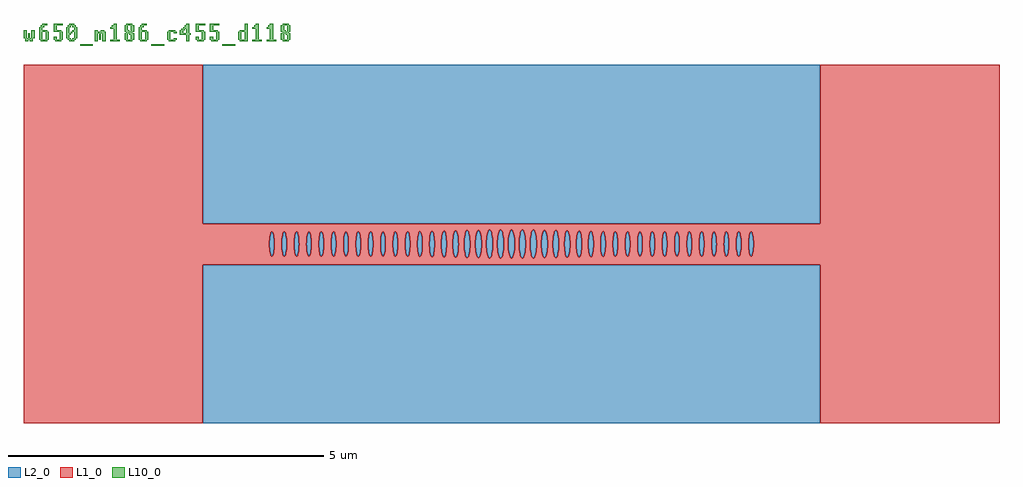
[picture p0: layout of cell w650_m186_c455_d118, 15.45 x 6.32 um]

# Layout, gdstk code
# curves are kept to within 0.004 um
import gdstk
lib = gdstk.Library(unit=1e-6, precision=1e-09)
def R(c, l, rs):  # rectangles x0, y0, x1, y1
    for r in rs: c.add(gdstk.rectangle(r[:2], r[2:], *l))
def A(c, l, x, y, w, h, nx, ny, dx, dy):  # array of equal rectangles
    R(c, l, [(x+i*dx, y+j*dy, x+i*dx+w, y+j*dy+h) for i in range(nx) for j in range(ny)])
def P(c, l, *ps):  # polygons
    for p in ps: c.add(gdstk.Polygon(p, *l))
L1_0 = (1, 0)
L2_0 = (2, 0)
L10_0 = (10, 0)

w650_m186_c455_d118 = lib.new_cell('w650_m186_c455_d118')
P(w650_m186_c455_d118, L1_0, [(-2.852,0.075),(-2.852,0.325),(-4.89,0.325),(-4.89,2.835),(-7.725,2.835),(-7.725,0),(-3.832,0),(-3.82,0.138),(-3.808,0.18),(-3.793,0.195),(-3.778,0.18),(-3.765,0.138),(-3.754,0.038),(-3.754,-0.038),(-3.636,-0.038),(-3.636,0.038),(-3.625,0.138),(-3.612,0.18),(-3.597,0.195),(-3.582,0.18),(-3.57,0.138),(-3.558,0),(-3.441,0),(-3.43,0.138),(-3.417,0.18),(-3.402,0.195),(-3.387,0.18),(-3.374,0.138),(-3.363,0),(-3.246,0),(-3.234,0.138),(-3.221,0.18),(-3.207,0.195),(-3.192,0.18),(-3.179,0.138),(-3.167,0),(-3.05,0),(-3.039,0.138),(-3.019,0.191),(-3.003,0.191),(-2.983,0.138),(-2.972,0),(-2.983,-0.138),(-2.996,-0.18),(-3.011,-0.195),(-3.026,-0.18),(-3.039,-0.138),(-3.05,0),(-3.167,0),(-3.179,-0.138),(-3.192,-0.18),(-3.207,-0.195),(-3.221,-0.18),(-3.234,-0.138),(-3.246,0),(-3.363,0),(-3.374,-0.138),(-3.387,-0.18),(-3.402,-0.195),(-3.417,-0.18),(-3.43,-0.138),(-3.441,0),(-3.558,0),(-3.57,-0.138),(-3.582,-0.18),(-3.597,-0.195),(-3.612,-0.18),(-3.625,-0.138),(-3.636,-0.038),(-3.754,-0.038),(-3.771,-0.162),(-3.785,-0.191),(-3.8,-0.191),(-3.82,-0.138),(-3.832,0),(-7.725,0),(-7.725,-2.835),(-4.89,-2.835),(-4.89,-0.325),(-2.852,-0.325)],
  [(-1.875,0.075),(-1.866,0.138),(-1.846,0.191),(-1.846,0.325),(-2.852,0.325),(-2.852,0.075),(-2.831,0.18),(-2.816,0.195),(-2.808,0.191),(-2.794,0.162),(-2.783,0.108),(-2.777,-0.038),(-2.659,-0.038),(-2.659,0.038),(-2.648,0.138),(-2.635,0.18),(-2.62,0.195),(-2.605,0.18),(-2.593,0.138),(-2.581,0),(-2.464,0),(-2.453,0.138),(-2.44,0.18),(-2.425,0.195),(-2.41,0.18),(-2.397,0.138),(-2.386,0),(-2.269,0),(-2.257,0.138),(-2.244,0.18),(-2.23,0.195),(-2.215,0.18),(-2.202,0.138),(-2.19,0),(-2.073,0),(-2.062,0.138),(-2.042,0.191),(-2.026,0.191),(-2.006,0.138),(-1.995,0),(-2.006,-0.138),(-2.019,-0.18),(-2.034,-0.195),(-2.049,-0.18),(-2.062,-0.138),(-2.073,0),(-2.19,0),(-2.202,-0.138),(-2.215,-0.18),(-2.23,-0.195),(-2.244,-0.18),(-2.257,-0.138),(-2.269,0),(-2.386,0),(-2.397,-0.138),(-2.41,-0.18),(-2.425,-0.195),(-2.44,-0.18),(-2.453,-0.138),(-2.464,0),(-2.581,0),(-2.593,-0.138),(-2.605,-0.18),(-2.62,-0.195),(-2.635,-0.18),(-2.648,-0.138),(-2.659,-0.038),(-2.777,-0.038),(-2.788,-0.138),(-2.801,-0.18),(-2.816,-0.195),(-2.831,-0.18),(-2.837,-0.162),(-2.852,-0.075),(-2.852,-0.325),(-1.846,-0.325),(-1.846,-0.191),(-1.86,-0.162),(-1.875,-0.075)],
  [(-1.831,0.191),(-1.817,0.162),(-1.806,0.108),(-1.8,0),(-1.683,0),(-1.672,0.139),(-1.659,0.181),(-1.644,0.196),(-1.629,0.181),(-1.616,0.139),(-1.604,0),(-1.49,0),(-1.478,0.141),(-1.465,0.184),(-1.45,0.199),(-1.434,0.184),(-1.421,0.141),(-1.412,0.076),(-1.409,-0.019),(-1.3,-0.019),(-1.291,0.126),(-1.272,0.192),(-1.256,0.203),(-1.241,0.185),(-1.228,0.14),(-1.219,0.076),(-1.217,-0.02),(-1.113,-0.02),(-1.108,0.095),(-1.098,0.157),(-1.083,0.197),(-1.067,0.208),(-1.051,0.189),(-1.038,0.144),(-1.026,0.039),(-1.026,-0.039),(-1.044,-0.17),(-1.067,-0.208),(-1.083,-0.197),(-1.098,-0.157),(-1.113,-0.02),(-1.217,-0.02),(-1.228,-0.14),(-1.241,-0.185),(-1.256,-0.203),(-1.272,-0.192),(-1.285,-0.154),(-1.3,-0.019),(-1.409,-0.019),(-1.421,-0.141),(-1.434,-0.184),(-1.45,-0.199),(-1.465,-0.184),(-1.478,-0.141),(-1.49,0),(-1.604,0),(-1.616,-0.139),(-1.629,-0.181),(-1.644,-0.196),(-1.659,-0.181),(-1.672,-0.139),(-1.683,0),(-1.8,0),(-1.811,-0.138),(-1.831,-0.191),(-1.846,-0.191),(-1.846,-0.325),(-0.881,-0.325),(-0.881,-0.213),(-0.898,-0.202),(-0.913,-0.161),(-0.929,-0.02),(-0.919,0.132),(-0.906,0.185),(-0.89,0.211),(-0.881,0.213),(-0.881,0.325),(-1.846,0.325),(-1.846,0.191)],
  [(-0.048,0.082),(-0.031,0.181),(-0.023,0.204),(-0.005,0.226),(-0.005,0.325),(-0.881,0.325),(-0.881,0.213),(-0.865,0.194),(-0.851,0.147),(-0.838,0),(-0.749,0),(-0.736,0.147),(-0.723,0.195),(-0.706,0.217),(-0.689,0.209),(-0.673,0.174),(-0.657,0.079),(-0.654,0),(-0.572,0),(-0.559,0.149),(-0.544,0.198),(-0.527,0.221),(-0.509,0.213),(-0.486,0.149),(-0.474,0),(-0.397,0),(-0.384,0.151),(-0.369,0.201),(-0.351,0.224),(-0.342,0.224),(-0.324,0.201),(-0.309,0.151),(-0.296,0),(-0.224,0),(-0.211,0.153),(-0.196,0.203),(-0.177,0.226),(-0.168,0.226),(-0.15,0.203),(-0.135,0.153),(-0.121,0),(-0.135,-0.153),(-0.15,-0.203),(-0.168,-0.226),(-0.187,-0.218),(-0.196,-0.203),(-0.211,-0.153),(-0.224,0),(-0.296,0),(-0.309,-0.151),(-0.324,-0.201),(-0.342,-0.224),(-0.351,-0.224),(-0.369,-0.201),(-0.384,-0.151),(-0.397,0),(-0.474,0),(-0.486,-0.149),(-0.501,-0.198),(-0.518,-0.221),(-0.536,-0.213),(-0.559,-0.149),(-0.572,0),(-0.654,0),(-0.667,-0.147),(-0.68,-0.195),(-0.697,-0.217),(-0.714,-0.209),(-0.73,-0.174),(-0.746,-0.079),(-0.749,0),(-0.838,0),(-0.851,-0.147),(-0.865,-0.194),(-0.881,-0.213),(-0.881,-0.325),(-0.005,-0.325),(-0.005,-0.226),(-0.023,-0.204),(-0.044,-0.12),(-0.052,0)],
  [(0.048,-0.082),(0.038,-0.153),(0.023,-0.204),(0.014,-0.219),(-0.005,-0.226),(-0.005,-0.325),(0.869,-0.325),(0.869,-0.202),(0.848,-0.132),(0.838,-0.02),(0.843,0.098),(0.854,0.161),(0.869,0.202),(0.869,0.325),(-0.005,0.325),(-0.005,0.226),(0.014,0.219),(0.031,0.181),(0.044,0.12),(0.052,0),(0.121,0),(0.135,0.153),(0.15,0.203),(0.168,0.226),(0.187,0.218),(0.196,0.203),(0.211,0.153),(0.224,0),(0.296,0),(0.309,0.151),(0.324,0.201),(0.342,0.224),(0.351,0.224),(0.369,0.201),(0.384,0.151),(0.394,0.081),(0.396,-0.041),(0.474,-0.041),(0.474,0.041),(0.486,0.149),(0.501,0.198),(0.518,0.221),(0.536,0.213),(0.559,0.149),(0.572,0),(0.654,0),(0.657,0.079),(0.673,0.174),(0.689,0.209),(0.706,0.217),(0.723,0.195),(0.736,0.147),(0.749,0),(0.736,-0.147),(0.723,-0.195),(0.706,-0.217),(0.689,-0.209),(0.673,-0.174),(0.657,-0.079),(0.654,0),(0.572,0),(0.559,-0.149),(0.544,-0.198),(0.527,-0.221),(0.509,-0.213),(0.493,-0.177),(0.474,-0.041),(0.396,-0.041),(0.384,-0.151),(0.369,-0.201),(0.351,-0.224),(0.342,-0.224),(0.324,-0.201),(0.309,-0.151),(0.296,0),(0.224,0),(0.211,-0.153),(0.196,-0.203),(0.177,-0.226),(0.168,-0.226),(0.15,-0.203),(0.135,-0.153),(0.121,0),(0.052,0)],
  [(0.886,0.213),(0.91,0.174),(0.922,0.115),(0.929,-0.02),(1.026,-0.02),(1.035,0.129),(1.047,0.18),(1.063,0.206),(1.071,0.208),(1.087,0.189),(1.101,0.144),(1.11,0.077),(1.113,-0.019),(1.216,-0.019),(1.225,0.126),(1.244,0.192),(1.26,0.203),(1.275,0.185),(1.288,0.14),(1.3,0),(1.409,0),(1.421,0.141),(1.434,0.184),(1.45,0.199),(1.465,0.184),(1.478,0.141),(1.49,0),(1.604,0),(1.616,0.139),(1.629,0.181),(1.644,0.196),(1.659,0.181),(1.672,0.139),(1.68,0.075),(1.682,-0.038),(1.672,-0.139),(1.659,-0.181),(1.644,-0.196),(1.629,-0.181),(1.616,-0.139),(1.604,0),(1.49,0),(1.478,-0.141),(1.465,-0.184),(1.45,-0.199),(1.434,-0.184),(1.421,-0.141),(1.409,0),(1.3,0),(1.288,-0.14),(1.275,-0.185),(1.26,-0.203),(1.244,-0.192),(1.231,-0.154),(1.216,-0.019),(1.113,-0.019),(1.101,-0.144),(1.087,-0.189),(1.071,-0.208),(1.055,-0.197),(1.041,-0.157),(1.03,-0.095),(1.026,-0.02),(0.929,-0.02),(0.922,-0.115),(0.91,-0.174),(0.886,-0.213),(0.869,-0.202),(0.869,-0.325),(1.846,-0.325),(1.846,-0.191),(1.831,-0.191),(1.817,-0.162),(1.8,-0.038),(1.8,0.038),(1.811,0.138),(1.831,0.191),(1.846,0.191),(1.846,0.325),(0.869,0.325),(0.869,0.202)],
  [(1.875,-0.075),(1.866,-0.138),(1.846,-0.191),(1.846,-0.325),(2.848,-0.325),(2.848,-0.108),(2.831,-0.18),(2.816,-0.195),(2.808,-0.191),(2.788,-0.138),(2.777,-0.038),(2.783,0.108),(2.801,0.18),(2.816,0.195),(2.831,0.18),(2.848,0.108),(2.848,0.325),(1.846,0.325),(1.846,0.191),(1.866,0.138),(1.878,0),(1.995,0),(2.006,0.138),(2.019,0.18),(2.034,0.195),(2.049,0.18),(2.062,0.138),(2.073,0),(2.19,0),(2.202,0.138),(2.215,0.18),(2.23,0.195),(2.244,0.18),(2.257,0.138),(2.269,0),(2.386,0),(2.397,0.138),(2.41,0.18),(2.425,0.195),(2.44,0.18),(2.453,0.138),(2.464,0),(2.581,0),(2.593,0.138),(2.605,0.18),(2.62,0.195),(2.628,0.191),(2.642,0.162),(2.653,0.108),(2.659,-0.038),(2.648,-0.138),(2.635,-0.18),(2.62,-0.195),(2.605,-0.18),(2.593,-0.138),(2.581,0),(2.464,0),(2.453,-0.138),(2.44,-0.18),(2.425,-0.195),(2.41,-0.18),(2.397,-0.138),(2.386,0),(2.269,0),(2.257,-0.138),(2.244,-0.18),(2.23,-0.195),(2.215,-0.18),(2.202,-0.138),(2.19,0),(2.073,0),(2.062,-0.138),(2.049,-0.18),(2.034,-0.195),(2.019,-0.18),(2.006,-0.138),(1.995,0),(1.878,0)],
  [(2.852,-0.075),(2.848,-0.325),(4.89,-0.325),(4.89,-2.835),(7.725,-2.835),(7.725,2.835),(4.89,2.835),(4.89,0.325),(2.848,0.325),(2.848,0.108),(2.855,0),(2.972,0),(2.983,0.138),(2.996,0.18),(3.011,0.195),(3.026,0.18),(3.039,0.138),(3.05,0),(3.167,0),(3.179,0.138),(3.192,0.18),(3.207,0.195),(3.221,0.18),(3.234,0.138),(3.246,0),(3.363,0),(3.374,0.138),(3.387,0.18),(3.402,0.195),(3.417,0.18),(3.43,0.138),(3.441,0),(3.558,0),(3.57,0.138),(3.582,0.18),(3.597,0.195),(3.612,0.18),(3.625,0.138),(3.636,0.038),(3.636,-0.038),(3.754,-0.038),(3.754,0.038),(3.765,0.138),(3.778,0.18),(3.793,0.195),(3.808,0.18),(3.82,0.138),(3.832,0),(3.82,-0.138),(3.808,-0.18),(3.793,-0.195),(3.778,-0.18),(3.765,-0.138),(3.754,-0.038),(3.636,-0.038),(3.619,-0.162),(3.605,-0.191),(3.59,-0.191),(3.57,-0.138),(3.558,0),(3.441,0),(3.43,-0.138),(3.417,-0.18),(3.402,-0.195),(3.387,-0.18),(3.374,-0.138),(3.363,0),(3.246,0),(3.234,-0.138),(3.221,-0.18),(3.207,-0.195),(3.192,-0.18),(3.179,-0.138),(3.167,0),(3.05,0),(3.039,-0.138),(3.026,-0.18),(3.011,-0.195),(2.996,-0.18),(2.983,-0.138),(2.972,0),(2.855,0)])
R(w650_m186_c455_d118, L2_0, [(-4.89,-2.835,4.89,-0.325), (-4.89,0.325,4.89,2.835)])
P(w650_m186_c455_d118, L2_0, [(1.998,-0.075),(2.012,-0.162),(2.026,-0.191),(2.034,-0.195),(2.042,-0.191),(2.056,-0.162),(2.067,-0.108),(2.073,0),(2.067,0.108),(2.056,0.162),(2.042,0.191),(2.034,0.195),(2.019,0.18),(2.006,0.138),(1.996,0.038)],
  [(-1.487,-0.076),(-1.472,-0.166),(-1.458,-0.195),(-1.45,-0.199),(-1.434,-0.184),(-1.427,-0.166),(-1.416,-0.111),(-1.409,-0.019),(-1.412,0.076),(-1.427,0.166),(-1.434,0.184),(-1.45,0.199),(-1.458,0.195),(-1.472,0.166),(-1.483,0.111),(-1.49,0)],
  [(3.561,-0.075),(3.576,-0.162),(3.582,-0.18),(3.597,-0.195),(3.605,-0.191),(3.619,-0.162),(3.63,-0.108),(3.636,-0.038),(3.63,0.108),(3.619,0.162),(3.605,0.191),(3.597,0.195),(3.582,0.18),(3.565,0.108),(3.558,0)],
  [(3.438,0.075),(3.424,0.162),(3.41,0.191),(3.402,0.195),(3.394,0.191),(3.38,0.162),(3.369,0.108),(3.363,0),(3.369,-0.108),(3.38,-0.162),(3.394,-0.191),(3.402,-0.195),(3.417,-0.18),(3.43,-0.138),(3.44,-0.038)],
  [(3.243,0.075),(3.228,0.162),(3.207,0.195),(3.199,0.191),(3.185,0.162),(3.174,0.108),(3.167,0),(3.17,-0.075),(3.185,-0.162),(3.199,-0.191),(3.207,-0.195),(3.228,-0.162),(3.239,-0.108),(3.246,0)],
  [(3.047,0.075),(3.039,0.138),(3.019,0.191),(3.003,0.191),(2.983,0.138),(2.973,0.038),(2.975,-0.075),(2.989,-0.162),(3.003,-0.191),(3.011,-0.195),(3.019,-0.191),(3.033,-0.162),(3.044,-0.108),(3.05,0)],
  [(-3.438,-0.075),(-3.424,-0.162),(-3.41,-0.191),(-3.402,-0.195),(-3.394,-0.191),(-3.38,-0.162),(-3.369,-0.108),(-3.363,0),(-3.369,0.108),(-3.38,0.162),(-3.394,0.191),(-3.402,0.195),(-3.417,0.18),(-3.43,0.138),(-3.44,0.038)],
  [(2.584,-0.075),(2.599,-0.162),(2.605,-0.18),(2.62,-0.195),(2.628,-0.191),(2.642,-0.162),(2.653,-0.108),(2.659,-0.038),(2.653,0.108),(2.642,0.162),(2.628,0.191),(2.62,0.195),(2.605,0.18),(2.588,0.108),(2.581,0)],
  [(2.461,0.075),(2.447,0.162),(2.433,0.191),(2.425,0.195),(2.417,0.191),(2.403,0.162),(2.392,0.108),(2.386,0),(2.392,-0.108),(2.403,-0.162),(2.417,-0.191),(2.425,-0.195),(2.44,-0.18),(2.453,-0.138),(2.463,-0.038)],
  [(2.266,0.075),(2.251,0.162),(2.23,0.195),(2.222,0.191),(2.208,0.162),(2.197,0.108),(2.19,0),(2.193,-0.075),(2.208,-0.162),(2.222,-0.191),(2.23,-0.195),(2.251,-0.162),(2.262,-0.108),(2.269,0)],
  [(-3.243,-0.075),(-3.228,-0.162),(-3.207,-0.195),(-3.199,-0.191),(-3.185,-0.162),(-3.174,-0.108),(-3.167,0),(-3.17,0.075),(-3.185,0.162),(-3.199,0.191),(-3.207,0.195),(-3.228,0.162),(-3.239,0.108),(-3.246,0)],
  [(-3.047,-0.075),(-3.039,-0.138),(-3.019,-0.191),(-3.003,-0.191),(-2.983,-0.138),(-2.973,-0.038),(-2.975,0.075),(-2.989,0.162),(-3.003,0.191),(-3.011,0.195),(-3.019,0.191),(-3.033,0.162),(-3.044,0.108),(-3.05,0)],
  [(1.607,-0.075),(1.616,-0.139),(1.636,-0.192),(1.644,-0.196),(1.659,-0.181),(1.672,-0.139),(1.682,-0.038),(1.68,0.075),(1.666,0.163),(1.659,0.181),(1.644,0.196),(1.636,0.192),(1.622,0.163),(1.611,0.109),(1.604,0)],
  [(1.487,0.076),(1.472,0.166),(1.458,0.195),(1.45,0.199),(1.434,0.184),(1.427,0.166),(1.416,0.111),(1.409,0),(1.412,-0.076),(1.427,-0.166),(1.434,-0.184),(1.45,-0.199),(1.458,-0.195),(1.472,-0.166),(1.483,-0.111),(1.49,0)],
  [(-2.852,-0.075),(-2.837,-0.162),(-2.831,-0.18),(-2.816,-0.195),(-2.808,-0.191),(-2.794,-0.162),(-2.783,-0.108),(-2.777,-0.038),(-2.783,0.108),(-2.794,0.162),(-2.808,0.191),(-2.816,0.195),(-2.831,0.18),(-2.848,0.108),(-2.855,0)],
  [(-2.461,-0.075),(-2.447,-0.162),(-2.433,-0.191),(-2.425,-0.195),(-2.417,-0.191),(-2.403,-0.162),(-2.392,-0.108),(-2.386,0),(-2.392,0.108),(-2.403,0.162),(-2.417,0.191),(-2.425,0.195),(-2.44,0.18),(-2.453,0.138),(-2.463,0.038)],
  [(-2.266,-0.075),(-2.251,-0.162),(-2.23,-0.195),(-2.222,-0.191),(-2.208,-0.162),(-2.197,-0.108),(-2.19,0),(-2.193,0.075),(-2.208,0.162),(-2.222,0.191),(-2.23,0.195),(-2.251,0.162),(-2.262,0.108),(-2.269,0)],
  [(0.657,-0.079),(0.673,-0.174),(0.68,-0.195),(0.697,-0.217),(0.706,-0.217),(0.723,-0.195),(0.742,-0.115),(0.749,-0.02),(0.746,0.079),(0.73,0.174),(0.723,0.195),(0.706,0.217),(0.697,0.217),(0.68,0.195),(0.661,0.115),(0.654,0)],
  [(-2.07,-0.075),(-2.062,-0.138),(-2.042,-0.191),(-2.026,-0.191),(-2.006,-0.138),(-1.996,-0.038),(-1.998,0.075),(-2.012,0.162),(-2.026,0.191),(-2.034,0.195),(-2.042,0.191),(-2.056,0.162),(-2.067,0.108),(-2.073,0)],
  [(0.3,-0.081),(0.316,-0.179),(0.324,-0.201),(0.342,-0.224),(0.351,-0.224),(0.369,-0.201),(0.384,-0.151),(0.396,-0.041),(0.394,0.081),(0.377,0.179),(0.369,0.201),(0.351,0.224),(0.342,0.224),(0.324,0.201),(0.309,0.151),(0.297,0.041)],
  [(0.221,0.082),(0.204,0.181),(0.196,0.203),(0.177,0.226),(0.168,0.226),(0.15,0.203),(0.129,0.119),(0.121,0),(0.129,-0.119),(0.15,-0.203),(0.168,-0.226),(0.187,-0.218),(0.196,-0.203),(0.211,-0.153),(0.223,-0.042)],
  [(0.048,0.082),(0.031,0.181),(0.023,0.204),(0.005,0.226),(-0.014,0.219),(-0.023,0.204),(-0.044,0.12),(-0.052,0),(-0.044,-0.12),(-0.023,-0.204),(-0.005,-0.226),(0.014,-0.219),(0.023,-0.204),(0.044,-0.12),(0.052,0)],
  [(-0.125,0.082),(-0.142,0.181),(-0.15,0.203),(-0.168,0.226),(-0.187,0.218),(-0.196,0.203),(-0.211,0.153),(-0.223,0.042),(-0.221,-0.082),(-0.204,-0.181),(-0.196,-0.203),(-0.177,-0.226),(-0.168,-0.226),(-0.15,-0.203),(-0.129,-0.119),(-0.121,0)],
  [(-0.3,0.081),(-0.316,0.179),(-0.324,0.201),(-0.342,0.224),(-0.351,0.224),(-0.369,0.201),(-0.384,0.151),(-0.396,0.041),(-0.394,-0.081),(-0.377,-0.179),(-0.369,-0.201),(-0.351,-0.224),(-0.342,-0.224),(-0.324,-0.201),(-0.309,-0.151),(-0.297,-0.041)],
  [(-0.477,0.08),(-0.493,0.177),(-0.518,0.221),(-0.536,0.213),(-0.559,0.149),(-0.571,0.041),(-0.568,-0.08),(-0.552,-0.177),(-0.527,-0.221),(-0.509,-0.213),(-0.486,-0.149),(-0.474,-0.041)],
  [(-0.657,0.079),(-0.673,0.174),(-0.68,0.195),(-0.697,0.217),(-0.706,0.217),(-0.723,0.195),(-0.742,0.115),(-0.749,0),(-0.746,-0.079),(-0.73,-0.174),(-0.723,-0.195),(-0.706,-0.217),(-0.697,-0.217),(-0.68,-0.195),(-0.661,-0.115),(-0.654,0)],
  [(-1.875,-0.075),(-1.86,-0.162),(-1.854,-0.18),(-1.839,-0.195),(-1.831,-0.191),(-1.817,-0.162),(-1.806,-0.108),(-1.8,-0.038),(-1.806,0.108),(-1.817,0.162),(-1.831,0.191),(-1.839,0.195),(-1.854,0.18),(-1.871,0.108),(-1.878,0)],
  [(-1.607,0.075),(-1.616,0.139),(-1.636,0.192),(-1.644,0.196),(-1.659,0.181),(-1.672,0.139),(-1.682,0.038),(-1.68,-0.075),(-1.666,-0.163),(-1.659,-0.181),(-1.644,-0.196),(-1.636,-0.192),(-1.622,-0.163),(-1.611,-0.109),(-1.604,0)],
  [(-3.829,-0.075),(-3.814,-0.162),(-3.808,-0.18),(-3.793,-0.195),(-3.785,-0.191),(-3.771,-0.162),(-3.76,-0.108),(-3.754,-0.038),(-3.76,0.108),(-3.771,0.162),(-3.785,0.191),(-3.793,0.195),(-3.808,0.18),(-3.825,0.108),(-3.832,0)],
  [(-1.295,-0.093),(-1.279,-0.176),(-1.272,-0.192),(-1.256,-0.203),(-1.248,-0.198),(-1.234,-0.166),(-1.223,-0.11),(-1.216,0),(-1.219,0.076),(-1.234,0.166),(-1.248,0.198),(-1.256,0.203),(-1.272,0.192),(-1.291,0.126),(-1.3,0.019)],
  [(1.297,0.076),(1.282,0.166),(1.268,0.198),(1.26,0.203),(1.244,0.192),(1.225,0.126),(1.216,0.019),(1.221,-0.093),(1.237,-0.176),(1.244,-0.192),(1.26,-0.203),(1.268,-0.198),(1.282,-0.166),(1.293,-0.11),(1.3,0)],
  [(-1.108,-0.095),(-1.091,-0.18),(-1.083,-0.197),(-1.067,-0.208),(-1.044,-0.17),(-1.033,-0.113),(-1.026,-0.039),(-1.029,0.077),(-1.044,0.17),(-1.067,0.208),(-1.083,0.197),(-1.091,0.18),(-1.108,0.095),(-1.113,0.02)],
  [(-0.841,0.079),(-0.857,0.174),(-0.881,0.213),(-0.89,0.211),(-0.906,0.185),(-0.924,0.098),(-0.929,0.02),(-0.924,-0.098),(-0.906,-0.185),(-0.89,-0.211),(-0.881,-0.213),(-0.857,-0.174),(-0.845,-0.115),(-0.838,0)],
  [(0.843,-0.098),(0.861,-0.185),(0.877,-0.211),(0.886,-0.213),(0.91,-0.174),(0.922,-0.115),(0.929,-0.02),(0.926,0.079),(0.91,0.174),(0.886,0.213),(0.877,0.211),(0.861,0.185),(0.843,0.098),(0.838,0.02)],
  [(1.112,0.039),(1.101,0.144),(1.079,0.202),(1.071,0.208),(1.055,0.197),(1.035,0.129),(1.026,0.02),(1.03,-0.095),(1.047,-0.18),(1.055,-0.197),(1.071,-0.208),(1.087,-0.189),(1.101,-0.144),(1.11,-0.077)],
  [(-2.584,0.075),(-2.599,0.162),(-2.605,0.18),(-2.62,0.195),(-2.628,0.191),(-2.642,0.162),(-2.653,0.108),(-2.659,0.038),(-2.653,-0.108),(-2.642,-0.162),(-2.628,-0.191),(-2.62,-0.195),(-2.605,-0.18),(-2.588,-0.108),(-2.581,0)],
  [(1.875,0.075),(1.86,0.162),(1.854,0.18),(1.839,0.195),(1.831,0.191),(1.817,0.162),(1.806,0.108),(1.8,0.038),(1.806,-0.108),(1.817,-0.162),(1.831,-0.191),(1.839,-0.195),(1.854,-0.18),(1.871,-0.108),(1.878,0)],
  [(2.852,0.075),(2.837,0.162),(2.831,0.18),(2.816,0.195),(2.808,0.191),(2.794,0.162),(2.783,0.108),(2.777,0.038),(2.783,-0.108),(2.794,-0.162),(2.808,-0.191),(2.816,-0.195),(2.831,-0.18),(2.848,-0.108),(2.855,0)],
  [(-3.561,0.075),(-3.576,0.162),(-3.582,0.18),(-3.597,0.195),(-3.605,0.191),(-3.619,0.162),(-3.63,0.108),(-3.636,0.038),(-3.63,-0.108),(-3.619,-0.162),(-3.605,-0.191),(-3.597,-0.195),(-3.582,-0.18),(-3.565,-0.108),(-3.558,0)],
  [(3.76,-0.108),(3.771,-0.162),(3.785,-0.191),(3.793,-0.195),(3.808,-0.18),(3.814,-0.162),(3.829,-0.075),(3.832,0),(3.825,0.108),(3.808,0.18),(3.793,0.195),(3.785,0.191),(3.771,0.162),(3.76,0.108),(3.754,0.038)],
  [(0.568,0.08),(0.552,0.177),(0.527,0.221),(0.509,0.213),(0.486,0.149),(0.474,0.041),(0.477,-0.08),(0.493,-0.177),(0.518,-0.221),(0.536,-0.213),(0.559,-0.149),(0.571,-0.041)])
A(w650_m186_c455_d118, L10_0, -6.825, 3.135, 0.2, 0.025, 3, 1, 1.125, 0)
R(w650_m186_c455_d118, L10_0, [(-6.975,3.335,-6.95,3.36)])
P(w650_m186_c455_d118, L10_0, [(-7.7,3.26),(-7.7,3.21),(-7.65,3.21),(-7.65,3.235),(-7.625,3.235),(-7.625,3.21),(-7.575,3.21),(-7.575,3.26),(-7.55,3.26),(-7.55,3.385),(-7.6,3.385),(-7.6,3.26),(-7.625,3.26),(-7.625,3.335),(-7.65,3.335),(-7.65,3.26),(-7.675,3.26),(-7.675,3.385),(-7.725,3.385),(-7.725,3.26)],
  [(-7.325,3.36),(-7.35,3.36),(-7.35,3.385),(-7.425,3.385),(-7.425,3.435),(-7.4,3.435),(-7.4,3.46),(-7.35,3.46),(-7.35,3.485),(-7.425,3.485),(-7.425,3.46),(-7.45,3.46),(-7.45,3.435),(-7.475,3.435),(-7.475,3.235),(-7.425,3.235),(-7.425,3.36),(-7.375,3.36),(-7.375,3.235),(-7.425,3.235),(-7.475,3.235),(-7.45,3.235),(-7.45,3.21),(-7.35,3.21),(-7.35,3.235),(-7.325,3.235)],
  [(-7.225,3.235),(-7.225,3.21),(-7.125,3.21),(-7.125,3.235),(-7.1,3.235),(-7.1,3.36),(-7.125,3.36),(-7.125,3.385),(-7.2,3.385),(-7.2,3.46),(-7.1,3.46),(-7.1,3.485),(-7.25,3.485),(-7.25,3.36),(-7.15,3.36),(-7.15,3.235),(-7.2,3.235),(-7.2,3.285),(-7.25,3.285),(-7.25,3.235)],
  [(-6.9,3.26),(-6.875,3.26),(-6.875,3.435),(-6.9,3.435),(-6.9,3.46),(-6.925,3.46),(-6.925,3.485),(-7,3.485),(-7,3.46),(-7.025,3.46),(-7.025,3.435),(-7.05,3.435),(-7.05,3.26),(-7,3.26),(-7,3.31),(-6.975,3.31),(-6.975,3.335),(-7,3.335),(-7,3.435),(-6.975,3.435),(-6.975,3.46),(-6.95,3.46),(-6.95,3.435),(-6.925,3.435),(-6.925,3.385),(-6.95,3.385),(-6.95,3.36),(-6.925,3.36),(-6.925,3.26),(-6.95,3.26),(-6.95,3.235),(-6.975,3.235),(-6.975,3.26),(-7,3.26),(-7.05,3.26),(-7.025,3.26),(-7.025,3.235),(-7,3.235),(-7,3.21),(-6.925,3.21),(-6.925,3.235),(-6.9,3.235)],
  [(-6.55,3.21),(-6.55,3.335),(-6.525,3.335),(-6.525,3.235),(-6.5,3.235),(-6.5,3.335),(-6.475,3.335),(-6.475,3.21),(-6.425,3.21),(-6.425,3.36),(-6.45,3.36),(-6.45,3.385),(-6.5,3.385),(-6.5,3.36),(-6.55,3.36),(-6.55,3.385),(-6.6,3.385),(-6.6,3.21)],
  [(-6.325,3.435),(-6.35,3.435),(-6.35,3.41),(-6.3,3.41),(-6.3,3.235),(-6.35,3.235),(-6.35,3.21),(-6.2,3.21),(-6.2,3.235),(-6.25,3.235),(-6.25,3.485),(-6.3,3.485),(-6.3,3.46),(-6.325,3.46)],
  [(-5.975,3.335),(-6,3.335),(-6,3.36),(-5.975,3.36),(-5.975,3.46),(-6,3.46),(-6,3.485),(-6.1,3.485),(-6.1,3.46),(-6.125,3.46),(-6.125,3.385),(-6.075,3.385),(-6.075,3.46),(-6.025,3.46),(-6.025,3.36),(-6.05,3.36),(-6.05,3.385),(-6.075,3.385),(-6.125,3.385),(-6.125,3.36),(-6.1,3.36),(-6.1,3.335),(-6.125,3.335),(-6.125,3.235),(-6.075,3.235),(-6.075,3.335),(-6.05,3.335),(-6.05,3.31),(-6.025,3.31),(-6.025,3.235),(-6.075,3.235),(-6.125,3.235),(-6.1,3.235),(-6.1,3.21),(-6,3.21),(-6,3.235),(-5.975,3.235)],
  [(-5.75,3.36),(-5.775,3.36),(-5.775,3.385),(-5.85,3.385),(-5.85,3.435),(-5.825,3.435),(-5.825,3.46),(-5.775,3.46),(-5.775,3.485),(-5.85,3.485),(-5.85,3.46),(-5.875,3.46),(-5.875,3.435),(-5.9,3.435),(-5.9,3.235),(-5.85,3.235),(-5.85,3.36),(-5.8,3.36),(-5.8,3.235),(-5.85,3.235),(-5.9,3.235),(-5.875,3.235),(-5.875,3.21),(-5.775,3.21),(-5.775,3.235),(-5.75,3.235)],
  [(-5.45,3.235),(-5.425,3.235),(-5.425,3.21),(-5.325,3.21),(-5.325,3.235),(-5.3,3.235),(-5.3,3.26),(-5.35,3.26),(-5.35,3.235),(-5.4,3.235),(-5.4,3.36),(-5.35,3.36),(-5.35,3.335),(-5.3,3.335),(-5.3,3.36),(-5.325,3.36),(-5.325,3.385),(-5.425,3.385),(-5.425,3.36),(-5.45,3.36)],
  [(-5.1,3.21),(-5.1,3.31),(-5.075,3.31),(-5.075,3.335),(-5.1,3.335),(-5.1,3.485),(-5.15,3.485),(-5.15,3.46),(-5.175,3.46),(-5.175,3.435),(-5.2,3.435),(-5.2,3.41),(-5.225,3.41),(-5.225,3.385),(-5.25,3.385),(-5.25,3.335),(-5.2,3.335),(-5.2,3.385),(-5.175,3.385),(-5.175,3.41),(-5.15,3.41),(-5.15,3.335),(-5.2,3.335),(-5.25,3.335),(-5.25,3.31),(-5.15,3.31),(-5.15,3.21)],
  [(-4.975,3.235),(-4.975,3.21),(-4.875,3.21),(-4.875,3.235),(-4.85,3.235),(-4.85,3.36),(-4.875,3.36),(-4.875,3.385),(-4.95,3.385),(-4.95,3.46),(-4.85,3.46),(-4.85,3.485),(-5,3.485),(-5,3.36),(-4.9,3.36),(-4.9,3.235),(-4.95,3.235),(-4.95,3.285),(-5,3.285),(-5,3.235)],
  [(-4.75,3.235),(-4.75,3.21),(-4.65,3.21),(-4.65,3.235),(-4.625,3.235),(-4.625,3.36),(-4.65,3.36),(-4.65,3.385),(-4.725,3.385),(-4.725,3.46),(-4.625,3.46),(-4.625,3.485),(-4.775,3.485),(-4.775,3.36),(-4.675,3.36),(-4.675,3.235),(-4.725,3.235),(-4.725,3.285),(-4.775,3.285),(-4.775,3.235)],
  [(-4.225,3.485),(-4.225,3.385),(-4.3,3.385),(-4.3,3.36),(-4.325,3.36),(-4.325,3.235),(-4.275,3.235),(-4.275,3.36),(-4.225,3.36),(-4.225,3.235),(-4.275,3.235),(-4.325,3.235),(-4.3,3.235),(-4.3,3.21),(-4.175,3.21),(-4.175,3.485)],
  [(-4.075,3.435),(-4.1,3.435),(-4.1,3.41),(-4.05,3.41),(-4.05,3.235),(-4.1,3.235),(-4.1,3.21),(-3.95,3.21),(-3.95,3.235),(-4,3.235),(-4,3.485),(-4.05,3.485),(-4.05,3.46),(-4.075,3.46)],
  [(-3.85,3.435),(-3.875,3.435),(-3.875,3.41),(-3.825,3.41),(-3.825,3.235),(-3.875,3.235),(-3.875,3.21),(-3.725,3.21),(-3.725,3.235),(-3.775,3.235),(-3.775,3.485),(-3.825,3.485),(-3.825,3.46),(-3.85,3.46)],
  [(-3.5,3.335),(-3.525,3.335),(-3.525,3.36),(-3.5,3.36),(-3.5,3.46),(-3.525,3.46),(-3.525,3.485),(-3.625,3.485),(-3.625,3.46),(-3.65,3.46),(-3.65,3.385),(-3.6,3.385),(-3.6,3.46),(-3.55,3.46),(-3.55,3.36),(-3.575,3.36),(-3.575,3.385),(-3.6,3.385),(-3.65,3.385),(-3.65,3.36),(-3.625,3.36),(-3.625,3.335),(-3.65,3.335),(-3.65,3.235),(-3.6,3.235),(-3.6,3.335),(-3.575,3.335),(-3.575,3.31),(-3.55,3.31),(-3.55,3.235),(-3.6,3.235),(-3.65,3.235),(-3.625,3.235),(-3.625,3.21),(-3.525,3.21),(-3.525,3.235),(-3.5,3.235)])

lib.write_gds('w650_m186_c455_d118.gds')
